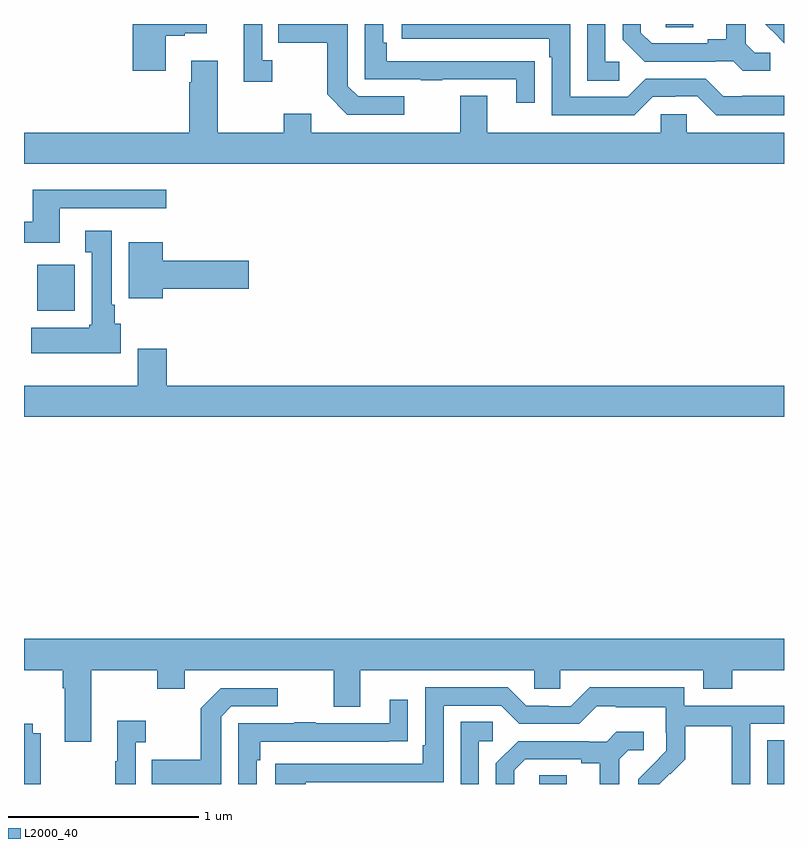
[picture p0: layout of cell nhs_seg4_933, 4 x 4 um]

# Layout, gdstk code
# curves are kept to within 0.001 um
import gdstk
lib = gdstk.Library(unit=1e-6, precision=1e-09)
def R(c, l, rs):  # rectangles x0, y0, x1, y1
    for r in rs: c.add(gdstk.rectangle(r[:2], r[2:], *l))
def P(c, l, *ps):  # polygons
    for p in ps: c.add(gdstk.Polygon(p, *l))
L2000_40 = (2000, 40)

nhs_seg4_933 = lib.new_cell('nhs_seg4_933')
R(nhs_seg4_933, L2000_40, [(161.712,782.9,161.857,782.945), (162.911,782.9,163,783.131), (159.071,785.39,159.268,785.632), (162.378,786.883,162.523,786.9)])
P(nhs_seg4_933, L2000_40, [(162.133,786.702),(162.06,786.702),(162.06,786.9),(161.964,786.9),(161.964,786.601),(162.133,786.601)],
  [(163,786.523),(162.781,786.523),(162.781,786.519),(162.681,786.519),(162.588,786.612),(162.273,786.612),(162.177,786.516),(161.874,786.516),(161.874,786.9),(160.989,786.9),(160.989,786.822),(161.765,786.822),(161.765,786.725),(161.778,786.725),(161.778,786.42),(162.213,786.42),(162.309,786.516),(162.428,786.516),(162.428,786.519),(162.543,786.519),(162.643,786.419),(163,786.419)],
  [(162.928,786.75),(162.846,786.75),(162.799,786.797),(162.799,786.9),(162.695,786.9),(162.695,786.821),(162.599,786.821),(162.599,786.798),(162.304,786.798),(162.247,786.855),(162.247,786.9),(162.15,786.9),(162.15,786.818),(162.266,786.702),(162.638,786.702),(162.638,786.705),(162.732,786.705),(162.784,786.653),(162.928,786.653)],
  [(159.745,786.839),(159.845,786.839),(159.845,786.851),(159.961,786.851),(159.961,786.9),(159.572,786.9),(159.572,786.654),(159.745,786.654)],
  [(161.687,786.704),(161.585,786.704),(161.585,786.705),(160.91,786.705),(160.91,786.802),(160.89,786.802),(160.89,786.9),(160.794,786.9),(160.794,786.609),(161.089,786.609),(161.089,786.604),(161.201,786.604),(161.201,786.609),(161.591,786.609),(161.591,786.486),(161.687,786.486)],
  [(161.002,786.519),(160.758,786.519),(160.704,786.573),(160.704,786.9),(160.339,786.9),(160.339,786.802),(160.596,786.802),(160.596,786.529),(160.701,786.423),(161.002,786.423)],
  [(160.306,786.71),(160.254,786.71),(160.254,786.9),(160.157,786.9),(160.157,786.597),(160.306,786.597)],
  [(163,786.9),(162.902,786.9),(162.973,786.829),(162.972,786.828),(163,786.8)],
  [(163,786.328),(162.489,786.328),(162.489,786.426),(162.351,786.426),(162.351,786.328),(161.437,786.328),(161.437,786.523),(161.297,786.523),(161.297,786.328),(160.513,786.328),(160.513,786.427),(160.366,786.427),(160.366,786.328),(160.021,786.328),(160.021,786.706),(159.881,786.706),(159.881,786.593),(159.869,786.593),(159.869,786.328),(159,786.328),(159,786.164),(163,786.164)],
  [(159.187,785.931),(159.748,785.931),(159.748,786.028),(159.047,786.028),(159.047,785.86),(159,785.86),(159,785.75),(159.187,785.75)],
  [(159.508,785.322),(159.478,785.322),(159.478,785.422),(159.463,785.422),(159.463,785.812),(159.323,785.812),(159.323,785.699),(159.356,785.699),(159.356,785.316),(159.343,785.316),(159.343,785.302),(159.039,785.302),(159.039,785.168),(159.508,785.168)],
  [(159.73,785.507),(160.183,785.507),(160.183,785.654),(159.73,785.654),(159.73,785.752),(159.551,785.752),(159.551,785.456),(159.73,785.456)],
  [(163,784.996),(159.752,784.996),(159.752,785.191),(159.599,785.191),(159.599,784.996),(159,784.996),(159,784.832),(163,784.832)],
  [(159.355,783.5),(159.7,783.5),(159.7,783.401),(159.847,783.401),(159.847,783.5),(160.631,783.5),(160.631,783.306),(160.771,783.306),(160.771,783.5),(161.685,783.5),(161.685,783.402),(161.823,783.402),(161.823,783.5),(162.575,783.5),(162.575,783.401),(162.728,783.401),(162.728,783.5),(163,783.5),(163,783.664),(159,783.664),(159,783.5),(159.203,783.5),(159.203,783.404),(159.215,783.404),(159.215,783.123),(159.355,783.123)],
  [(160.484,782.91),(161.208,782.91),(161.208,783.312),(161.511,783.312),(161.607,783.216),(161.922,783.216),(162.015,783.309),(162.115,783.309),(162.115,783.305),(162.378,783.305),(162.378,783.171),(162.38,783.171),(162.38,783.074),(162.234,782.926),(162.234,782.9),(162.344,782.9),(162.399,782.955),(162.402,782.952),(162.479,783.029),(162.479,783.204),(162.724,783.204),(162.724,782.98),(162.726,782.98),(162.726,782.9),(162.822,782.9),(162.822,783.216),(163,783.216),(163,783.312),(162.474,783.312),(162.474,783.409),(161.977,783.409),(161.877,783.309),(161.762,783.309),(161.762,783.312),(161.643,783.312),(161.547,783.408),(161.112,783.408),(161.112,783.103),(161.099,783.103),(161.099,783.006),(160.323,783.006),(160.323,782.9),(160.484,782.9)],
  [(160.038,783.255),(160.092,783.309),(160.336,783.309),(160.336,783.405),(160.035,783.405),(159.93,783.299),(159.93,783.027),(159.673,783.027),(159.673,782.9),(160.038,782.9)],
  [(160.224,783.026),(160.244,783.026),(160.244,783.123),(160.919,783.123),(160.919,783.124),(161.021,783.124),(161.021,783.343),(160.925,783.343),(160.925,783.219),(160.535,783.219),(160.535,783.224),(160.423,783.224),(160.423,783.219),(160.128,783.219),(160.128,782.9),(160.224,782.9)],
  [(159.588,783.119),(159.64,783.119),(159.64,783.232),(159.491,783.232),(159.491,783.019),(159.48,783.019),(159.48,782.9),(159.588,782.9)],
  [(161.394,783.126),(161.467,783.126),(161.467,783.227),(161.298,783.227),(161.298,782.9),(161.394,782.9)],
  [(159.087,783.166),(159.046,783.166),(159.046,783.217),(159,783.217),(159,782.9),(159.087,782.9)],
  [(161.581,782.973),(161.638,783.03),(161.933,783.03),(161.933,783.008),(162.029,783.008),(162.029,782.9),(162.133,782.9),(162.133,783.031),(162.18,783.078),(162.262,783.078),(162.262,783.175),(162.118,783.175),(162.066,783.123),(161.972,783.123),(161.972,783.126),(161.6,783.126),(161.484,783.01),(161.484,782.9),(161.581,782.9)])

lib.write_gds('nhs_seg4_933.gds')
